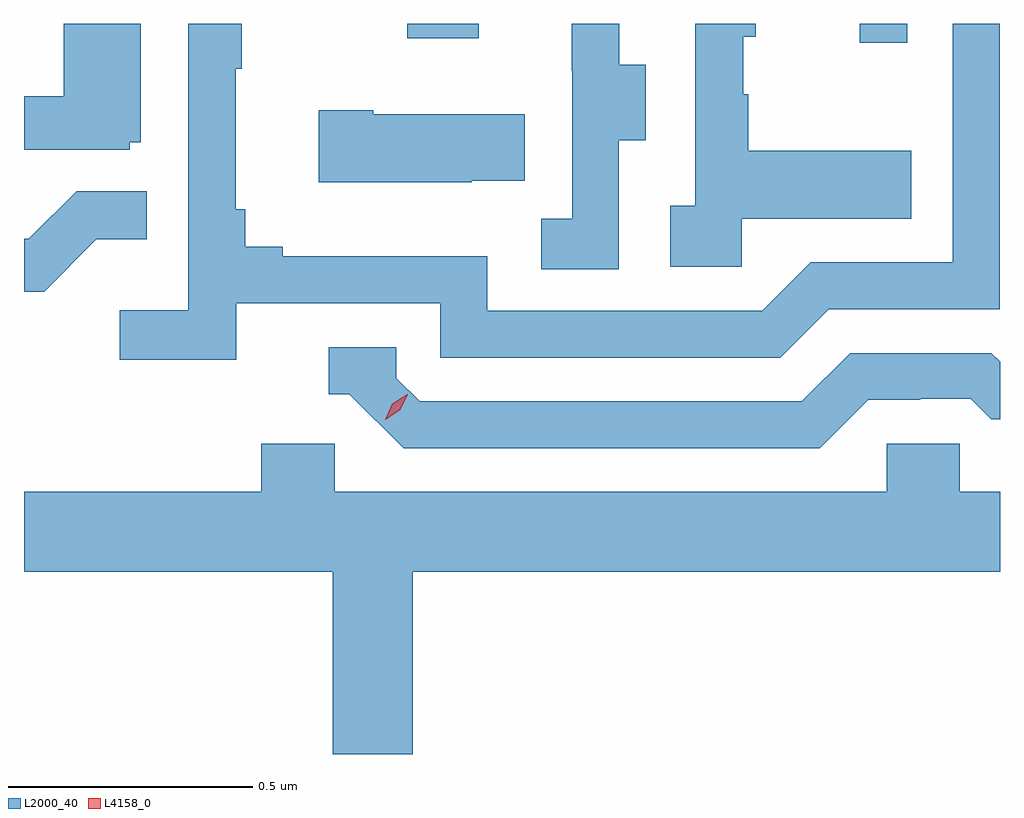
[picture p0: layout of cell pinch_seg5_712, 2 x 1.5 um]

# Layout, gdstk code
import gdstk
lib = gdstk.Library(unit=1e-6, precision=1e-09)
def R(c, l, rs):  # rectangles x0, y0, x1, y1
    for r in rs: c.add(gdstk.rectangle(r[:2], r[2:], *l))
def P(c, l, *ps):  # polygons
    for p in ps: c.add(gdstk.Polygon(p, *l))
L2000_40 = (2000, 40)
L4158_0 = (4158, 0)

pinch_seg5_712 = lib.new_cell('pinch_seg5_712')
R(pinch_seg5_712, L2000_40, [(1137.116,851.184,1137.213,851.223), (1136.188,851.193,1136.335,851.223)])
P(pinch_seg5_712, L2000_40, [(1135.838,850.65),(1136.256,850.65),(1136.256,850.539),(1136.953,850.539),(1137.052,850.638),(1137.402,850.638),(1137.402,851.223),(1137.306,851.223),(1137.306,850.734),(1137.015,850.734),(1136.916,850.635),(1136.352,850.635),(1136.352,850.747),(1135.933,850.747),(1135.933,850.766),(1135.856,850.766),(1135.856,850.843),(1135.837,850.843),(1135.837,851.131),(1135.849,851.131),(1135.849,851.223),(1135.74,851.223),(1135.74,850.636),(1135.599,850.636),(1135.599,850.534),(1135.838,850.534)],
  [(1136.622,850.984),(1136.677,850.984),(1136.677,851.139),(1136.623,851.139),(1136.623,851.223),(1136.525,851.223),(1136.525,851.127),(1136.526,851.127),(1136.526,850.823),(1136.463,850.823),(1136.463,850.72),(1136.622,850.72)],
  [(1136.874,850.823),(1137.221,850.823),(1137.221,850.963),(1136.887,850.963),(1136.887,851.078),(1136.877,851.078),(1136.877,851.196),(1136.902,851.196),(1136.902,851.223),(1136.778,851.223),(1136.778,850.85),(1136.727,850.85),(1136.727,850.725),(1136.874,850.725)],
  [(1135.62,850.98),(1135.642,850.98),(1135.642,851.223),(1135.484,851.223),(1135.484,851.074),(1135.403,851.074),(1135.403,850.965),(1135.62,850.965)],
  [(1136.321,850.901),(1136.429,850.901),(1136.429,851.038),(1136.119,851.038),(1136.119,851.046),(1136.007,851.046),(1136.007,850.898),(1136.321,850.898)],
  [(1135.551,850.781),(1135.655,850.781),(1135.655,850.88),(1135.511,850.88),(1135.413,850.782),(1135.403,850.782),(1135.403,850.674),(1135.444,850.674)],
  [(1137.133,850.452),(1137.24,850.452),(1137.24,850.455),(1137.343,850.455),(1137.385,850.413),(1137.403,850.413),(1137.403,850.53),(1137.385,850.548),(1137.096,850.548),(1136.997,850.449),(1136.214,850.449),(1136.166,850.497),(1136.166,850.56),(1136.027,850.56),(1136.027,850.464),(1136.07,850.464),(1136.181,850.353),(1137.034,850.353)],
  [(1136.2,850.1),(1137.403,850.1),(1137.403,850.264),(1137.321,850.264),(1137.321,850.362),(1137.171,850.362),(1137.171,850.264),(1136.04,850.264),(1136.04,850.362),(1135.889,850.362),(1135.889,850.264),(1135.403,850.264),(1135.403,850.1),(1136.036,850.1),(1136.036,849.726),(1136.2,849.726)])
P(pinch_seg5_712, L4158_0, [(1136.143,850.411),(1136.143,850.412),(1136.158,850.444),(1136.188,850.464),(1136.189,850.464),(1136.189,850.463),(1136.173,850.431),(1136.143,850.411)])

lib.write_gds('pinch_seg5_712.gds')
